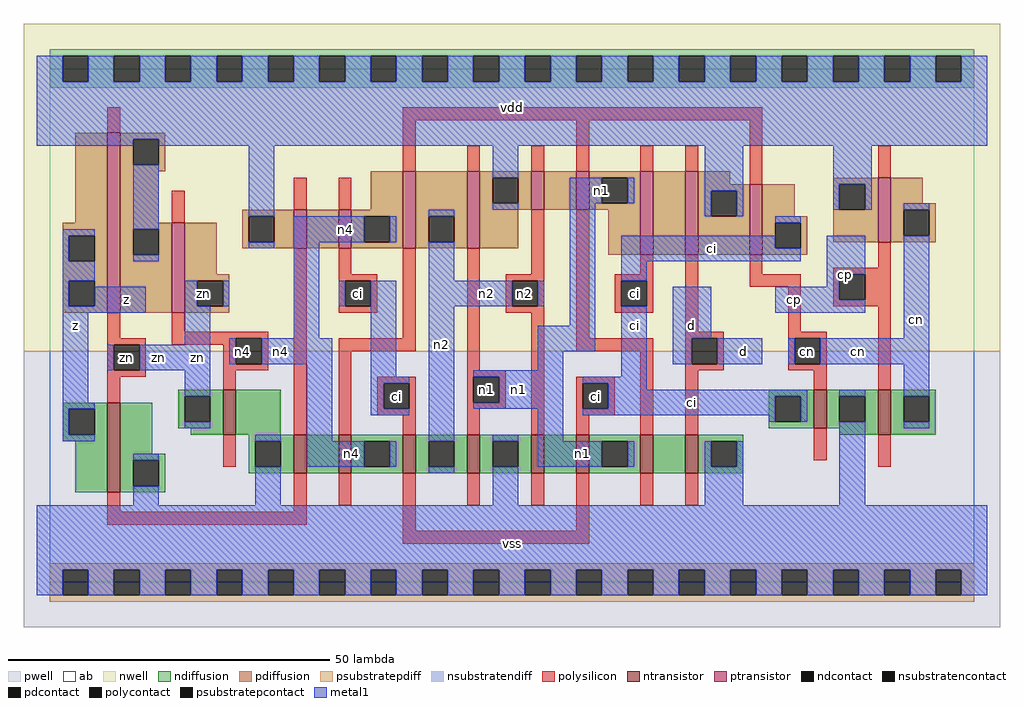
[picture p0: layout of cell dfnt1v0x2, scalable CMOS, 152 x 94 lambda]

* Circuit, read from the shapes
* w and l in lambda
.subckt dfnt1v0x2 ci cn cp d n1 n2 n4 vdd vss z zn
M1 vss zn z vss nfet w=14 l=2
M2 vss n4 zn vss nfet w=7 l=2
M3 n3 zn vss vss nfet w=6 l=2
M4 n4 cn n3 vss nfet w=6 l=2
M5 n2 ci n4 vss nfet w=6 l=2
M6 vss n1 n2 vss nfet w=6 l=2
M7 n5 n2 vss vss nfet w=6 l=2
M8 n1 ci n5 vss nfet w=6 l=2
M9 n6 cn n1 vss nfet w=6 l=2
M10 vss d n6 vss nfet w=6 l=2
M11 vss cn ci vss nfet w=6 l=2
M12 cn cp vss vss nfet w=7 l=2
M13 vdd zn z vdd pfet w=28 l=2
M14 zn n4 vdd vdd pfet w=14 l=2
M15 n7 zn vdd vdd pfet w=6 l=2
M16 n4 ci n7 vdd pfet w=6 l=2
M17 n2 cn n4 vdd pfet w=12 l=2
M18 vdd n1 n2 vdd pfet w=12 l=2
M19 n8 n2 vdd vdd pfet w=6 l=2
M20 n1 cn n8 vdd pfet w=6 l=2
M21 n9 ci n1 vdd pfet w=13 l=2
M22 vdd d n9 vdd pfet w=13 l=2
M23 ci cn vdd vdd pfet w=11 l=2
M24 cn cp vdd vdd pfet w=10 l=2
.ends

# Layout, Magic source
magic
tech scmos
<< ab >>
rect 0 0 144 80
<< pwell >>
rect -4 -7 148 36
<< nwell >>
rect -4 36 148 87
<< polysilicon >>
rect 9 70 11 74
rect 55 72 111 74
rect 55 64 57 72
rect 65 64 67 68
rect 75 64 77 68
rect 82 64 84 72
rect 92 64 94 68
rect 99 64 101 68
rect 19 56 21 61
rect 38 58 40 63
rect 45 58 47 63
rect 9 38 11 42
rect 19 39 21 42
rect 19 38 34 39
rect 9 37 15 38
rect 19 37 29 38
rect 9 33 10 37
rect 14 33 15 37
rect 9 32 15 33
rect 27 34 29 37
rect 33 34 34 38
rect 27 33 34 34
rect 9 28 11 32
rect 27 30 29 33
rect 38 23 40 52
rect 45 48 47 52
rect 45 47 51 48
rect 45 43 46 47
rect 50 43 51 47
rect 45 42 51 43
rect 55 38 57 52
rect 45 36 57 38
rect 45 23 47 36
rect 65 33 67 52
rect 75 48 77 58
rect 71 47 77 48
rect 71 43 72 47
rect 76 43 77 47
rect 71 42 77 43
rect 65 32 71 33
rect 51 31 57 32
rect 51 27 52 31
rect 56 27 57 31
rect 51 26 57 27
rect 55 23 57 26
rect 65 28 66 32
rect 70 28 71 32
rect 65 27 71 28
rect 65 23 67 27
rect 75 23 77 42
rect 82 38 84 58
rect 109 62 111 72
rect 129 63 131 68
rect 92 48 94 51
rect 88 47 94 48
rect 88 43 89 47
rect 93 43 94 47
rect 88 42 94 43
rect 99 39 101 51
rect 109 48 111 51
rect 129 49 131 53
rect 122 48 131 49
rect 109 46 117 48
rect 115 39 117 46
rect 122 44 123 48
rect 127 44 131 48
rect 122 43 131 44
rect 99 38 105 39
rect 82 36 94 38
rect 82 31 88 32
rect 82 27 83 31
rect 87 27 88 31
rect 82 26 88 27
rect 82 23 84 26
rect 92 23 94 36
rect 99 34 100 38
rect 104 34 105 38
rect 99 33 105 34
rect 115 38 121 39
rect 115 34 116 38
rect 120 34 121 38
rect 115 33 121 34
rect 99 23 101 33
rect 119 30 121 33
rect 129 30 131 43
rect 27 18 29 23
rect 119 19 121 24
rect 129 18 131 23
rect 9 11 11 14
rect 38 11 40 17
rect 45 12 47 17
rect 9 9 40 11
rect 55 8 57 17
rect 65 12 67 17
rect 75 12 77 17
rect 82 8 84 17
rect 92 12 94 17
rect 99 12 101 17
rect 55 6 84 8
<< ndiffusion >>
rect 20 29 27 30
rect 2 27 9 28
rect 2 23 3 27
rect 7 23 9 27
rect 2 22 9 23
rect 4 14 9 22
rect 11 20 16 28
rect 20 25 21 29
rect 25 25 27 29
rect 20 24 27 25
rect 22 23 27 24
rect 29 23 36 30
rect 112 29 119 30
rect 112 25 113 29
rect 117 25 119 29
rect 112 24 119 25
rect 121 29 129 30
rect 121 25 123 29
rect 127 25 129 29
rect 121 24 129 25
rect 11 19 18 20
rect 11 15 13 19
rect 17 15 18 19
rect 31 22 38 23
rect 31 18 32 22
rect 36 18 38 22
rect 31 17 38 18
rect 40 17 45 23
rect 47 22 55 23
rect 47 18 49 22
rect 53 18 55 22
rect 47 17 55 18
rect 57 22 65 23
rect 57 18 59 22
rect 63 18 65 22
rect 57 17 65 18
rect 67 22 75 23
rect 67 18 69 22
rect 73 18 75 22
rect 67 17 75 18
rect 77 17 82 23
rect 84 22 92 23
rect 84 18 86 22
rect 90 18 92 22
rect 84 17 92 18
rect 94 17 99 23
rect 101 22 108 23
rect 101 18 103 22
rect 107 18 108 22
rect 123 23 129 24
rect 131 29 138 30
rect 131 25 133 29
rect 137 25 138 29
rect 131 23 138 25
rect 101 17 108 18
rect 11 14 18 15
<< pdiffusion >>
rect 4 56 9 70
rect 2 54 9 56
rect 2 50 3 54
rect 7 50 9 54
rect 2 47 9 50
rect 2 43 3 47
rect 7 43 9 47
rect 2 42 9 43
rect 11 69 18 70
rect 11 65 13 69
rect 17 65 18 69
rect 11 64 18 65
rect 11 56 17 64
rect 50 58 55 64
rect 30 57 38 58
rect 11 55 19 56
rect 11 51 13 55
rect 17 51 19 55
rect 11 42 19 51
rect 21 48 26 56
rect 30 53 31 57
rect 35 53 38 57
rect 30 52 38 53
rect 40 52 45 58
rect 47 57 55 58
rect 47 53 49 57
rect 53 53 55 57
rect 47 52 55 53
rect 57 57 65 64
rect 57 53 59 57
rect 63 53 65 57
rect 57 52 65 53
rect 67 63 75 64
rect 67 59 69 63
rect 73 59 75 63
rect 67 58 75 59
rect 77 58 82 64
rect 84 63 92 64
rect 84 59 86 63
rect 90 59 92 63
rect 84 58 92 59
rect 67 52 73 58
rect 21 47 28 48
rect 21 43 23 47
rect 27 43 28 47
rect 21 42 28 43
rect 87 51 92 58
rect 94 51 99 64
rect 101 62 106 64
rect 122 62 129 63
rect 101 61 109 62
rect 101 57 103 61
rect 107 57 109 61
rect 101 51 109 57
rect 111 57 116 62
rect 122 58 123 62
rect 127 58 129 62
rect 111 56 118 57
rect 111 52 113 56
rect 117 52 118 56
rect 122 53 129 58
rect 131 59 136 63
rect 131 58 138 59
rect 131 54 133 58
rect 137 54 138 58
rect 131 53 138 54
rect 111 51 118 52
<< metal1 >>
rect -2 78 2 82
rect 6 78 10 82
rect 14 78 18 82
rect 22 78 26 82
rect 30 78 34 82
rect 38 78 42 82
rect 46 78 50 82
rect 54 78 58 82
rect 62 78 66 82
rect 70 78 74 82
rect 78 78 82 82
rect 86 78 90 82
rect 94 78 98 82
rect 102 78 106 82
rect 110 78 114 82
rect 118 78 122 82
rect 126 78 130 82
rect 134 78 138 82
rect 142 78 146 82
rect -2 69 146 78
rect -2 68 13 69
rect 17 68 146 69
rect 13 55 17 65
rect 2 54 7 55
rect 2 50 3 54
rect 31 57 35 68
rect 69 63 73 68
rect 69 58 73 59
rect 81 59 86 63
rect 90 59 91 63
rect 102 61 108 68
rect 59 57 63 58
rect 31 52 35 53
rect 38 53 49 57
rect 53 53 54 57
rect 13 50 17 51
rect 2 47 7 50
rect 2 43 3 47
rect 7 43 15 46
rect 2 42 15 43
rect 21 43 23 47
rect 27 43 28 47
rect 2 28 6 42
rect 21 37 25 43
rect 38 38 42 53
rect 59 47 63 53
rect 45 43 46 47
rect 9 33 10 37
rect 14 33 25 37
rect 28 34 29 38
rect 33 34 44 38
rect 21 29 25 33
rect 2 27 7 28
rect 2 23 3 27
rect 21 24 25 25
rect 2 22 7 23
rect 32 22 36 23
rect 13 19 17 20
rect 13 12 17 15
rect 40 22 44 34
rect 50 32 54 47
rect 59 43 72 47
rect 76 43 77 47
rect 50 31 56 32
rect 50 27 52 31
rect 50 26 56 27
rect 59 22 63 43
rect 81 40 85 59
rect 102 57 103 61
rect 107 57 108 61
rect 122 62 128 68
rect 122 58 123 62
rect 127 58 128 62
rect 133 58 137 59
rect 113 56 117 57
rect 76 36 85 40
rect 89 52 113 54
rect 89 50 117 52
rect 89 47 93 50
rect 121 48 127 54
rect 121 46 123 48
rect 76 33 80 36
rect 66 32 80 33
rect 89 32 93 43
rect 97 38 103 46
rect 113 44 123 46
rect 113 42 127 44
rect 133 38 137 54
rect 97 34 100 38
rect 104 34 111 38
rect 115 34 116 38
rect 120 34 137 38
rect 70 28 80 32
rect 66 27 80 28
rect 40 18 49 22
rect 53 18 54 22
rect 32 12 36 18
rect 59 17 63 18
rect 69 22 73 23
rect 76 22 80 27
rect 83 31 93 32
rect 87 30 93 31
rect 87 29 118 30
rect 87 27 113 29
rect 83 26 113 27
rect 112 25 113 26
rect 117 25 118 29
rect 123 29 127 30
rect 76 18 86 22
rect 90 18 91 22
rect 102 18 103 22
rect 107 18 108 22
rect 69 12 73 18
rect 102 12 108 18
rect 123 12 127 25
rect 133 29 137 34
rect 133 24 137 25
rect -2 2 146 12
rect -2 -2 2 2
rect 6 -2 10 2
rect 14 -2 18 2
rect 22 -2 26 2
rect 30 -2 34 2
rect 38 -2 42 2
rect 46 -2 50 2
rect 54 -2 58 2
rect 62 -2 66 2
rect 70 -2 74 2
rect 78 -2 82 2
rect 86 -2 90 2
rect 94 -2 98 2
rect 102 -2 106 2
rect 110 -2 114 2
rect 118 -2 122 2
rect 126 -2 130 2
rect 134 -2 138 2
rect 142 -2 146 2
<< ntransistor >>
rect 9 14 11 28
rect 27 23 29 30
rect 119 24 121 30
rect 38 17 40 23
rect 45 17 47 23
rect 55 17 57 23
rect 65 17 67 23
rect 75 17 77 23
rect 82 17 84 23
rect 92 17 94 23
rect 99 17 101 23
rect 129 23 131 30
<< ptransistor >>
rect 9 42 11 70
rect 19 42 21 56
rect 38 52 40 58
rect 45 52 47 58
rect 55 52 57 64
rect 65 52 67 64
rect 75 58 77 64
rect 82 58 84 64
rect 92 51 94 64
rect 99 51 101 64
rect 109 51 111 62
rect 129 53 131 63
<< polycontact >>
rect 10 33 14 37
rect 29 34 33 38
rect 46 43 50 47
rect 72 43 76 47
rect 52 27 56 31
rect 66 28 70 32
rect 89 43 93 47
rect 123 44 127 48
rect 83 27 87 31
rect 100 34 104 38
rect 116 34 120 38
<< ndcontact >>
rect 3 23 7 27
rect 21 25 25 29
rect 113 25 117 29
rect 123 25 127 29
rect 13 15 17 19
rect 32 18 36 22
rect 49 18 53 22
rect 59 18 63 22
rect 69 18 73 22
rect 86 18 90 22
rect 103 18 107 22
rect 133 25 137 29
<< pdcontact >>
rect 3 50 7 54
rect 3 43 7 47
rect 13 65 17 69
rect 13 51 17 55
rect 31 53 35 57
rect 49 53 53 57
rect 59 53 63 57
rect 69 59 73 63
rect 86 59 90 63
rect 23 43 27 47
rect 103 57 107 61
rect 123 58 127 62
rect 113 52 117 56
rect 133 54 137 58
<< psubstratepcontact >>
rect 2 -2 6 2
rect 10 -2 14 2
rect 18 -2 22 2
rect 26 -2 30 2
rect 34 -2 38 2
rect 42 -2 46 2
rect 50 -2 54 2
rect 58 -2 62 2
rect 66 -2 70 2
rect 74 -2 78 2
rect 82 -2 86 2
rect 90 -2 94 2
rect 98 -2 102 2
rect 106 -2 110 2
rect 114 -2 118 2
rect 122 -2 126 2
rect 130 -2 134 2
rect 138 -2 142 2
<< nsubstratencontact >>
rect 2 78 6 82
rect 10 78 14 82
rect 18 78 22 82
rect 26 78 30 82
rect 34 78 38 82
rect 42 78 46 82
rect 50 78 54 82
rect 58 78 62 82
rect 66 78 70 82
rect 74 78 78 82
rect 82 78 86 82
rect 90 78 94 82
rect 98 78 102 82
rect 106 78 110 82
rect 114 78 118 82
rect 122 78 126 82
rect 130 78 134 82
rect 138 78 142 82
<< psubstratepdiff >>
rect 0 2 144 3
rect 0 -2 2 2
rect 6 -2 10 2
rect 14 -2 18 2
rect 22 -2 26 2
rect 30 -2 34 2
rect 38 -2 42 2
rect 46 -2 50 2
rect 54 -2 58 2
rect 62 -2 66 2
rect 70 -2 74 2
rect 78 -2 82 2
rect 86 -2 90 2
rect 94 -2 98 2
rect 102 -2 106 2
rect 110 -2 114 2
rect 118 -2 122 2
rect 126 -2 130 2
rect 134 -2 138 2
rect 142 -2 144 2
rect 0 -3 144 -2
<< nsubstratendiff >>
rect 0 82 144 83
rect 0 78 2 82
rect 6 78 10 82
rect 14 78 18 82
rect 22 78 26 82
rect 30 78 34 82
rect 38 78 42 82
rect 46 78 50 82
rect 54 78 58 82
rect 62 78 66 82
rect 70 78 74 82
rect 78 78 82 82
rect 86 78 90 82
rect 94 78 98 82
rect 102 78 106 82
rect 110 78 114 82
rect 118 78 122 82
rect 126 78 130 82
rect 134 78 138 82
rect 142 78 144 82
rect 0 77 144 78
<< labels >>
rlabel polycontact 12 35 12 35 6 zn
rlabel polycontact 30 36 30 36 6 n4
rlabel polycontact 54 29 54 29 6 ci
rlabel polycontact 48 45 48 45 6 ci
rlabel polycontact 68 30 68 30 6 n1
rlabel polycontact 85 29 85 29 6 ci
rlabel polycontact 91 45 91 45 6 ci
rlabel polycontact 74 45 74 45 6 n2
rlabel polycontact 118 36 118 36 6 cn
rlabel metal1 23 35 23 35 6 zn
rlabel metal1 17 35 17 35 6 zn
rlabel metal1 4 40 4 40 6 z
rlabel metal1 12 44 12 44 6 z
rlabel metal1 47 20 47 20 6 n4
rlabel polycontact 53 29 53 29 6 ci
rlabel metal1 36 36 36 36 6 n4
rlabel pdcontact 24 45 24 45 6 zn
rlabel polycontact 49 45 49 45 6 ci
rlabel metal1 46 55 46 55 6 n4
rlabel metal1 72 6 72 6 6 vss
rlabel metal1 73 30 73 30 6 n1
rlabel metal1 68 45 68 45 6 n2
rlabel metal1 61 37 61 37 6 n2
rlabel metal1 72 74 72 74 6 vdd
rlabel metal1 83 20 83 20 6 n1
rlabel metal1 108 36 108 36 6 d
rlabel metal1 100 40 100 40 6 d
rlabel metal1 91 40 91 40 6 ci
rlabel metal1 86 61 86 61 6 n1
rlabel metal1 100 28 100 28 6 ci
rlabel metal1 116 44 116 44 6 cp
rlabel metal1 126 36 126 36 6 cn
rlabel metal1 124 48 124 48 6 cp
rlabel metal1 103 52 103 52 6 ci
rlabel metal1 135 41 135 41 6 cn
<< end >>
